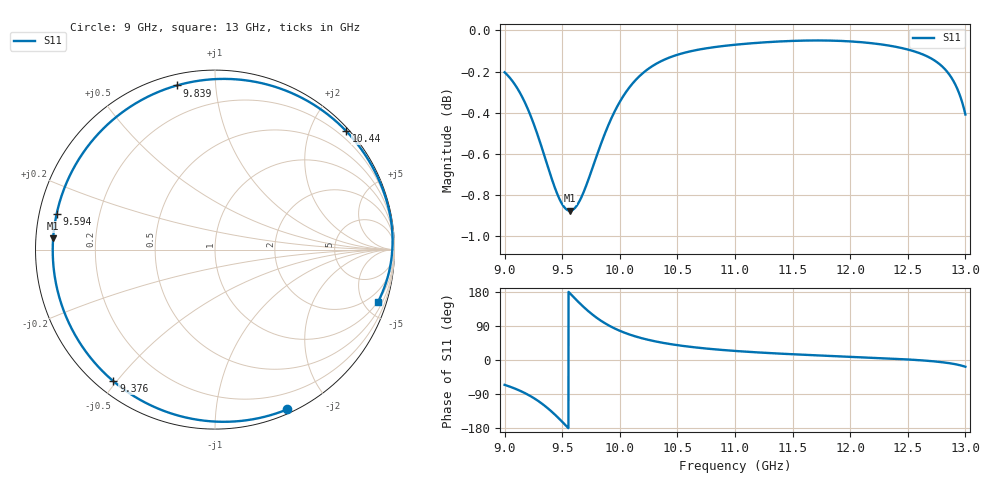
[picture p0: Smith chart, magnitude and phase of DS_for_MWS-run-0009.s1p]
! TOUCHSTONE file generated by CST DESIGN STUDIO
! Date and time: Tue Feb  4 12:50:23 2025
! Project name: C:\Work\MatlabApps\UnitCellOptimizationMatlab\CST\unitcell.cst
! Tree item: Tasks\Sweep1\SPara1\S-Parameters
! Header version: 2024
! Port assignment regex: !\s*Touchstone port\s*([0-9]+)\s*=\s*(CST MWS port|CST DES external port|CST DES block port)\s*(.+)\s* \(\"(.*)\"\)(\s*mode\s*([0-9]+))?.*
! Touchstone port assignment:
! Touchstone port 1 = CST DES external port 1 ("")
# GHz S MA R 50
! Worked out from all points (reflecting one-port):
!   4001 points, 9 GHz to 13 GHz, reference 50 ohm
!   lowest |S11| = -0.9 dB at 9.567 GHz (marker M1), VSWR 19.83, Z = 2.52 + j1.76 ohm
!   phase of S11 starts at -66 deg and turns -312 deg over the sweep
!   S11 on the Smith chart (normalised r, x): 9 GHz: 0.04, -1.55; 9.376 GHz: 0.05, -0.49; 9.594 GHz: 0.05, +0.11; 9.839 GHz: 0.05, +0.79; 10.44 GHz: 0.06, +2.61; 13 GHz: 0.96, -6.25
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9  0.9768 -65.6
9.11  0.9681 -78.0
9.225  0.9535 -95.3
9.304  0.94 -110.7
9.376  0.9264 -127.6
9.436  0.9158 -143.9
9.5  0.9073 -163.0
9.567  0.904 176.0
9.594  0.9045 167.5
9.65  0.9089 150.3
9.717  0.9182 131.4
9.776  0.9282 116.7
9.839  0.9389 103.1
9.912  0.95 89.9
10  0.9608 77.1
10.093  0.9694 66.4
10.194  0.976 57.2
10.308  0.9812 49.2
10.439  0.9851 42.0
10.5  0.9865 39.2
10.72  0.9897 31.1
11  0.992 23.9
11.5  0.9941 15.2
12  0.9939 8.5
12.5  0.9894 1.4
12.803  0.9798 -6.0
12.904  0.9712 -10.6
13  0.954 -17.8
